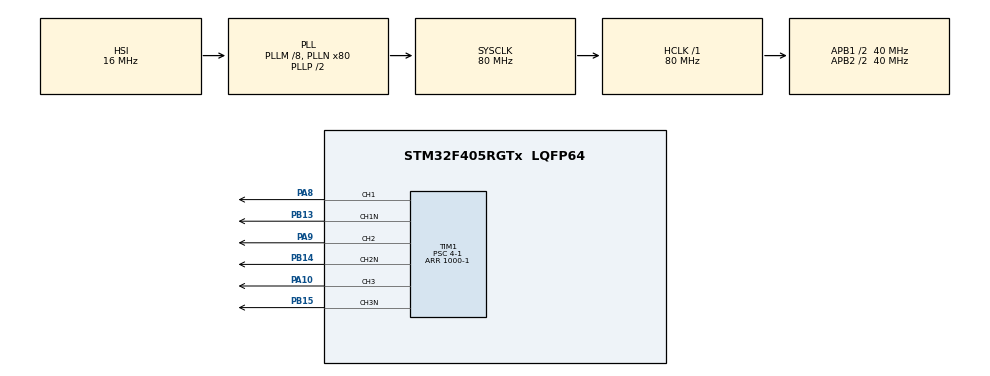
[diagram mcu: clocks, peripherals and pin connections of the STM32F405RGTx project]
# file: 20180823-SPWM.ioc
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Mcu.Family=STM32F4
Mcu.Name=STM32F405RGTx
Mcu.Package=LQFP64
NVIC.PriorityGroup=NVIC_PRIORITYGROUP_4
NVIC.TIM1_UP_TIM10_IRQn=true\:0\:0\:false\:false\:true\:true
PA10.Signal=S_TIM1_CH3
PA13.Mode=Serial_Wire
PA13.Signal=SYS_JTMS-SWDIO
PA14.Mode=Serial_Wire
PA14.Signal=SYS_JTCK-SWCLK
PA8.Signal=S_TIM1_CH1
PA9.Signal=S_TIM1_CH2
PB13.Mode=PWM Generation1 CH1 CH1N
PB13.Signal=TIM1_CH1N
PB14.Mode=PWM Generation2 CH2 CH2N
PB14.Signal=TIM1_CH2N
PB15.Mode=PWM Generation3 CH3 CH3N
PB15.Signal=TIM1_CH3N
ProjectManager.HeapSize=0x200
ProjectManager.StackSize=0x400
ProjectManager.TargetToolchain=MDK-ARM V5
RCC.48MHZClocksFreq_Value=40000000
RCC.AHBFreq_Value=80000000
RCC.APB1CLKDivider=RCC_HCLK_DIV2
RCC.APB1Freq_Value=40000000
RCC.APB1TimFreq_Value=80000000
RCC.APB2CLKDivider=RCC_HCLK_DIV2
RCC.APB2Freq_Value=40000000
RCC.APB2TimFreq_Value=80000000
RCC.CortexFreq_Value=80000000
RCC.HCLKFreq_Value=80000000
RCC.HSE_VALUE=25000000
RCC.HSI_VALUE=16000000
RCC.LSE_VALUE=32768
RCC.PLLM=8
RCC.PLLN=80
RCC.SYSCLKFreq_VALUE=80000000
RCC.SYSCLKSource=RCC_SYSCLKSOURCE_PLLCLK
RCC.VCOOutputFreq_Value=160000000
SH.S_TIM1_CH1.0=TIM1_CH1,PWM Generation1 CH1 CH1N
SH.S_TIM1_CH2.0=TIM1_CH2,PWM Generation2 CH2 CH2N
SH.S_TIM1_CH3.0=TIM1_CH3,PWM Generation3 CH3 CH3N
TIM1.Channel-PWM\ Generation1\ CH1\ CH1N=TIM_CHANNEL_1
TIM1.Channel-PWM\ Generation2\ CH2\ CH2N=TIM_CHANNEL_2
TIM1.Channel-PWM\ Generation3\ CH3\ CH3N=TIM_CHANNEL_3
TIM1.Period=1000-1
TIM1.Prescaler=4-1
VP_TIM1_VS_ClockSourceINT.Mode=Internal
board=custom

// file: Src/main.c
/**
  ******************************************************************************
  * @file           : main.c
  * @brief          : Main program body
  ******************************************************************************
  ** This notice applies to any and all portions of this file
  * that are not between comment pairs USER CODE BEGIN and
  * USER CODE END. Other portions of this file, whether
  * inserted by the user or by software development tools
  * are owned by their respective copyright owners.
  *
  * COPYRIGHT(c) 2018 STMicroelectronics
  *
  * Redistribution and use in source and binary forms, with or without modification,
  * are permitted provided that the following conditions are met:
  *   1. Redistributions of source code must retain the above copyright notice,
  *      this list of conditions and the following disclaimer.
  *   2. Redistributions in binary form must reproduce the above copyright notice,
  *      this list of conditions and the following disclaimer in the documentation
  *      and/or other materials provided with the distribution.
  *   3. Neither the name of STMicroelectronics nor the names of its contributors
  *      may be used to endorse or promote products derived from this software
  *      without specific prior written permission.
  *
  * THIS SOFTWARE IS PROVIDED BY THE COPYRIGHT HOLDERS AND CONTRIBUTORS "AS IS"
  * AND ANY EXPRESS OR IMPLIED WARRANTIES, INCLUDING, BUT NOT LIMITED TO, THE
  * IMPLIED WARRANTIES OF MERCHANTABILITY AND FITNESS FOR A PARTICULAR PURPOSE ARE
  * DISCLAIMED. IN NO EVENT SHALL THE COPYRIGHT HOLDER OR CONTRIBUTORS BE LIABLE
  * FOR ANY DIRECT, INDIRECT, INCIDENTAL, SPECIAL, EXEMPLARY, OR CONSEQUENTIAL
  * DAMAGES (INCLUDING, BUT NOT LIMITED TO, PROCUREMENT OF SUBSTITUTE GOODS OR
  * SERVICES; LOSS OF USE, DATA, OR PROFITS; OR BUSINESS INTERRUPTION) HOWEVER
  * CAUSED AND ON ANY THEORY OF LIABILITY, WHETHER IN CONTRACT, STRICT LIABILITY,
  * OR TORT (INCLUDING NEGLIGENCE OR OTHERWISE) ARISING IN ANY WAY OUT OF THE USE
  * OF THIS SOFTWARE, EVEN IF ADVISED OF THE POSSIBILITY OF SUCH DAMAGE.
  *
  ******************************************************************************
  */
#include "main.h"
#include "stm32f4xx_hal.h"
#include "tim.h"
#include "gpio.h"

/* USER CODE BEGIN Includes */
#include "arm_math.h"
#include "stdio.h"
/* USER CODE END Includes */

/* USER CODE BEGIN PV */
/* Private variables ---------------------------------------------------------*/
float32_t A, pi, f,t, omega, vs1, vs2, vs, fs, offset;
/* USER CODE END PV */

void SystemClock_Config(void);

/* USER CODE BEGIN PFP */
/* Private function prototypes -----------------------------------------------*/
void HAL_TIM_PeriodElapsedCallback(TIM_HandleTypeDef *htim)
{
	if(htim->Instance==TIM1) //Fungsi Interrupt Timer
	{
		//omega=2*pi*f;
		vs=A*arm_sin_f32(omega*t);
		vs1=vs+offset;
		vs2=offset-vs;

		t=t+(1/fs);

		if (t>=1.0/f)
		{
			t=0;
		}

		TIM1->CCR1=vs1;
		TIM1->CCR2=vs2;
	}
}
/* USER CODE END PFP */

int main(void)
{
  /* USER CODE BEGIN 1 */
	A=2047;
	pi=3.14285714;
	f=50.0;
	fs=20000.0;
	offset=A;
	omega=2*pi*f;

  /* USER CODE END 1 */

  /* MCU Configuration----------------------------------------------------------*/

  /* Reset of all peripherals, Initializes the Flash interface and the Systick. */
  HAL_Init();

  /* Configure the system clock */
  SystemClock_Config();

  /* Initialize all configured peripherals */
  MX_GPIO_Init();
  MX_TIM1_Init();
  /* USER CODE BEGIN 2 */
	HAL_TIM_Base_Start_IT(&htim1);
	HAL_TIM_PWM_Start(&htim1, TIM_CHANNEL_1);
	//HAL_TIMEx_PWMN_Start(&htim1, TIM_CHANNEL_1);
	HAL_TIM_PWM_Start(&htim1, TIM_CHANNEL_2);
	//HAL_TIMEx_PWMN_Start(&htim1, TIM_CHANNEL_2);

  /* USER CODE END 2 */

  /* Infinite loop */
  /* USER CODE BEGIN WHILE */
  while (1)
  {
//		if (t>=0 && t<=1.0/f/2)
//		{
//			HAL_TIMEx_PWMN_Stop(&htim1, TIM_CHANNEL_1);
//			HAL_TIM_PWM_Stop(&htim1, TIM_CHANNEL_2);
//
//			HAL_TIM_PWM_Start(&htim1, TIM_CHANNEL_1);
//			HAL_TIMEx_PWMN_Start(&htim1, TIM_CHANNEL_2);
//		}
//		else if (t>1.0/f/2 && t<=1.0/f)
//		{
//			HAL_TIM_PWM_Stop(&htim1, TIM_CHANNEL_1);
//			HAL_TIMEx_PWMN_Stop(&htim1, TIM_CHANNEL_2);
//
//			HAL_TIMEx_PWMN_Start(&htim1, TIM_CHANNEL_1);
//			HAL_TIM_PWM_Start(&htim1, TIM_CHANNEL_2);
//		}

  /* USER CODE END WHILE */

  }

}

void SystemClock_Config(void)
{

  RCC_OscInitTypeDef RCC_OscInitStruct;
  RCC_ClkInitTypeDef RCC_ClkInitStruct;

    /**Configure the main internal regulator output voltage
    */
  __HAL_RCC_PWR_CLK_ENABLE();

  __HAL_PWR_VOLTAGESCALING_CONFIG(PWR_REGULATOR_VOLTAGE_SCALE1);

    /**Initializes the CPU, AHB and APB busses clocks
    */
  RCC_OscInitStruct.OscillatorType = RCC_OSCILLATORTYPE_HSI;
  RCC_OscInitStruct.HSIState = RCC_HSI_ON;
  RCC_OscInitStruct.HSICalibrationValue = 16;
  RCC_OscInitStruct.PLL.PLLState = RCC_PLL_ON;
  RCC_OscInitStruct.PLL.PLLSource = RCC_PLLSOURCE_HSI;
  RCC_OscInitStruct.PLL.PLLM = 8;
  RCC_OscInitStruct.PLL.PLLN = 80;
  RCC_OscInitStruct.PLL.PLLP = RCC_PLLP_DIV2;
  RCC_OscInitStruct.PLL.PLLQ = 4;
  if (HAL_RCC_OscConfig(&RCC_OscInitStruct) != HAL_OK)
  {
    _Error_Handler(__FILE__, __LINE__);
  }

    /**Initializes the CPU, AHB and APB busses clocks
    */
  RCC_ClkInitStruct.ClockType = RCC_CLOCKTYPE_HCLK|RCC_CLOCKTYPE_SYSCLK
                              |RCC_CLOCKTYPE_PCLK1|RCC_CLOCKTYPE_PCLK2;
  RCC_ClkInitStruct.SYSCLKSource = RCC_SYSCLKSOURCE_PLLCLK;
  RCC_ClkInitStruct.AHBCLKDivider = RCC_SYSCLK_DIV1;
  RCC_ClkInitStruct.APB1CLKDivider = RCC_HCLK_DIV2;
  RCC_ClkInitStruct.APB2CLKDivider = RCC_HCLK_DIV2;

  if (HAL_RCC_ClockConfig(&RCC_ClkInitStruct, FLASH_LATENCY_2) != HAL_OK)
  {
    _Error_Handler(__FILE__, __LINE__);
  }

    /**Configure the Systick interrupt time
    */
  HAL_SYSTICK_Config(HAL_RCC_GetHCLKFreq()/1000);

    /**Configure the Systick
    */
  HAL_SYSTICK_CLKSourceConfig(SYSTICK_CLKSOURCE_HCLK);

  /* SysTick_IRQn interrupt configuration */
  HAL_NVIC_SetPriority(SysTick_IRQn, 0, 0);
}

void _Error_Handler(char *file, int line)
{
  while(1)
  {
  }
}

/************************ (C) COPYRIGHT STMicroelectronics *****END OF FILE****/
